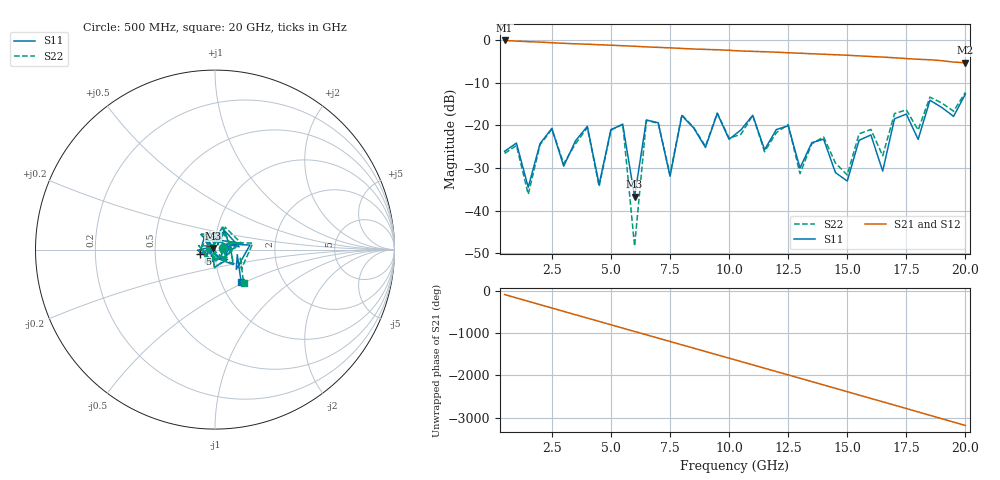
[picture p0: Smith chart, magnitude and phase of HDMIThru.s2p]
! File created by SignalIntegrity v1.1.13: Signal and Power Integrity Tools
! https://github.com/TeledyneLeCroy/SignalIntegrity
# MHz S MA R 50.0
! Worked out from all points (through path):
!   40 points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, 500 MHz to 20 GHz, reference 50 ohm
!   highest |S21| = -0.13 dB at 500 MHz (marker M1); lowest = -5.4 dB at 20 GHz (marker M2)
!   lowest |S11| = -36.7 dB at 6 GHz (marker M3), VSWR 1.03, Z = 48.9 + j0.921 ohm
!   |S11| at or under -10 dB: start of sweep to end of sweep
!   |S22| runs from -48.3 to -12.3 dB; largest |S21 - S12| = 0.008
!   S11 on the Smith chart (normalised r, x): 500 MHz: 1.10, +0.02; 5 GHz: 0.84, -0.04; 20 GHz: 1.24, -0.47
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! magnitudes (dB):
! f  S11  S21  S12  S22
! 500 MHz  -26.1  -0.1  -0.1  -26.6
! 1.5 GHz  -34.5  -0.4  -0.4  -36.2
! 2.5 GHz  -20.7  -0.7  -0.7  -20.9
! 3 GHz  -29.6  -0.8  -0.8  -29.0
! 4 GHz  -20.2  -1.0  -1.0  -20.5
! 4.5 GHz  -33.8  -1.1  -1.2  -34.3
! 5 GHz  -21.0  -1.3  -1.3  -21.2
! 5.5 GHz  -19.8  -1.4  -1.4  -19.7
! 6 GHz  -36.7  -1.5  -1.5  -48.3
! 6.5 GHz  -18.8  -1.6  -1.7  -18.8
! 7 GHz  -19.4  -1.8  -1.8  -19.5
! 7.5 GHz  -31.9  -1.9  -1.9  -31.5
! 8 GHz  -17.7  -2.0  -2.0  -17.6
! 10.5 GHz  -21.1  -2.6  -2.6  -22.1
! 12.5 GHz  -20.1  -3.0  -3.0  -19.8
! 13 GHz  -30.0  -3.1  -3.1  -31.3
! 13.5 GHz  -24.1  -3.2  -3.2  -24.3
! 15 GHz  -33.0  -3.6  -3.6  -31.6
! 16 GHz  -22.2  -3.9  -3.9  -21.0
! 16.5 GHz  -30.7  -4.0  -4.0  -27.1
! 17 GHz  -18.5  -4.2  -4.2  -17.3
! 20 GHz  -12.7  -5.4  -5.3  -12.3
